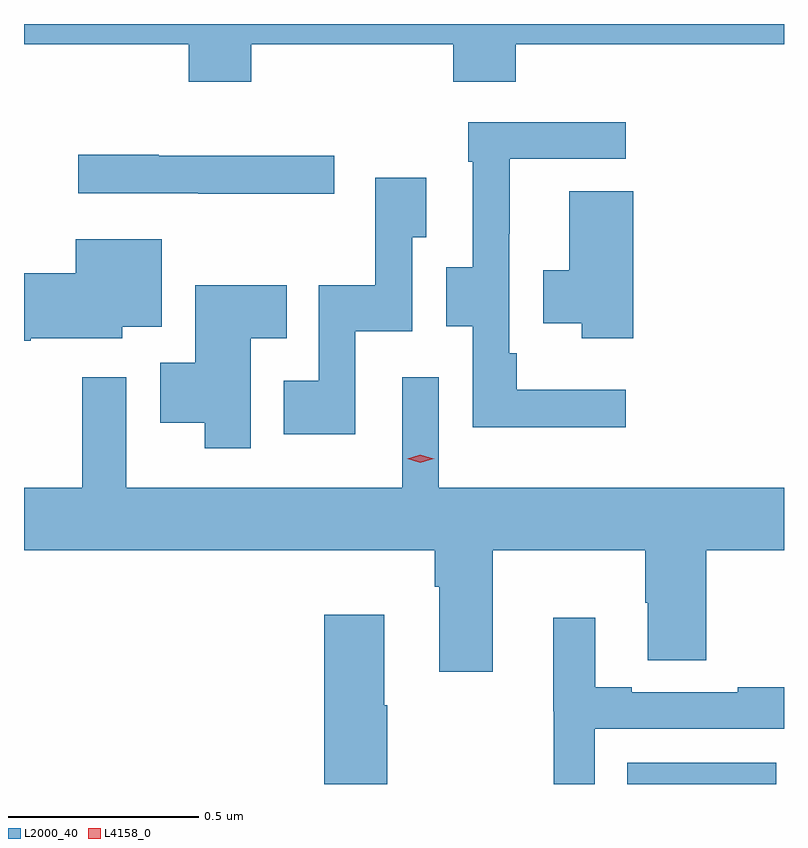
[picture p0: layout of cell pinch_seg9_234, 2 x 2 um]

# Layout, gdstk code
import gdstk
lib = gdstk.Library(unit=1e-6, precision=1e-09)
def R(c, l, rs):  # rectangles x0, y0, x1, y1
    for r in rs: c.add(gdstk.rectangle(r[:2], r[2:], *l))
def P(c, l, *ps):  # polygons
    for p in ps: c.add(gdstk.Polygon(p, *l))
L2000_40 = (2000, 40)
L4158_0 = (4158, 0)

pinch_seg9_234 = lib.new_cell('pinch_seg9_234')
R(pinch_seg9_234, L2000_40, [(503.587,1239.761,503.98,1239.817)])
P(pinch_seg9_234, L2000_40, [(502.598,1241.708),(503.129,1241.708),(503.129,1241.609),(503.294,1241.609),(503.294,1241.708),(504,1241.708),(504,1241.761),(502,1241.761),(502,1241.708),(502.433,1241.708),(502.433,1241.609),(502.598,1241.609)],
  [(503.584,1240.798),(503.297,1240.798),(503.297,1240.894),(503.277,1240.894),(503.277,1241.209),(503.278,1241.209),(503.278,1241.406),(503.584,1241.406),(503.584,1241.502),(503.169,1241.502),(503.169,1241.399),(503.181,1241.399),(503.181,1241.121),(503.111,1241.121),(503.111,1240.966),(503.181,1240.966),(503.181,1240.7),(503.584,1240.7)],
  [(502.816,1241.414),(502.355,1241.414),(502.355,1241.417),(502.143,1241.417),(502.143,1241.316),(502.459,1241.316),(502.459,1241.314),(502.816,1241.314)],
  [(502.872,1240.952),(503.022,1240.952),(503.022,1241.2),(503.059,1241.2),(503.059,1241.356),(502.924,1241.356),(502.924,1241.074),(502.776,1241.074),(502.776,1240.822),(502.683,1240.822),(502.683,1240.682),(502.872,1240.682)],
  [(503.603,1241.321),(503.435,1241.321),(503.435,1241.113),(503.366,1241.113),(503.366,1240.973),(503.468,1240.973),(503.468,1240.934),(503.603,1240.934)],
  [(502.018,1240.934),(502.258,1240.934),(502.258,1240.964),(502.363,1240.964),(502.363,1241.194),(502.136,1241.194),(502.136,1241.105),(502,1241.105),(502,1240.927),(502.018,1240.927)],
  [(502.597,1240.934),(502.691,1240.934),(502.691,1241.074),(502.451,1241.074),(502.451,1240.87),(502.358,1240.87),(502.358,1240.712),(502.475,1240.712),(502.475,1240.644),(502.597,1240.644)],
  [(503.233,1240.376),(503.635,1240.376),(503.635,1240.238),(503.642,1240.238),(503.642,1240.087),(503.795,1240.087),(503.795,1240.376),(504,1240.376),(504,1240.54),(503.091,1240.54),(503.091,1240.831),(502.995,1240.831),(502.995,1240.54),(502.269,1240.54),(502.269,1240.831),(502.153,1240.831),(502.153,1240.54),(502,1240.54),(502,1240.376),(503.081,1240.376),(503.081,1240.28),(503.093,1240.28),(503.093,1240.056),(503.233,1240.056)],
  [(502.956,1239.968),(502.948,1239.968),(502.948,1240.207),(502.79,1240.207),(502.79,1239.761),(502.956,1239.761)],
  [(503.502,1239.906),(504,1239.906),(504,1240.015),(503.878,1240.015),(503.878,1240.002),(503.599,1240.002),(503.599,1240.015),(503.503,1240.015),(503.503,1240.198),(503.393,1240.198),(503.393,1239.953),(503.394,1239.953),(503.394,1239.761),(503.502,1239.761)])
P(pinch_seg9_234, L4158_0, [(503.043,1240.607),(503.008,1240.617),(503.008,1240.617),(503.008,1240.617),(503.043,1240.627),(503.078,1240.617),(503.079,1240.617),(503.078,1240.617)])

lib.write_gds('pinch_seg9_234.gds')
